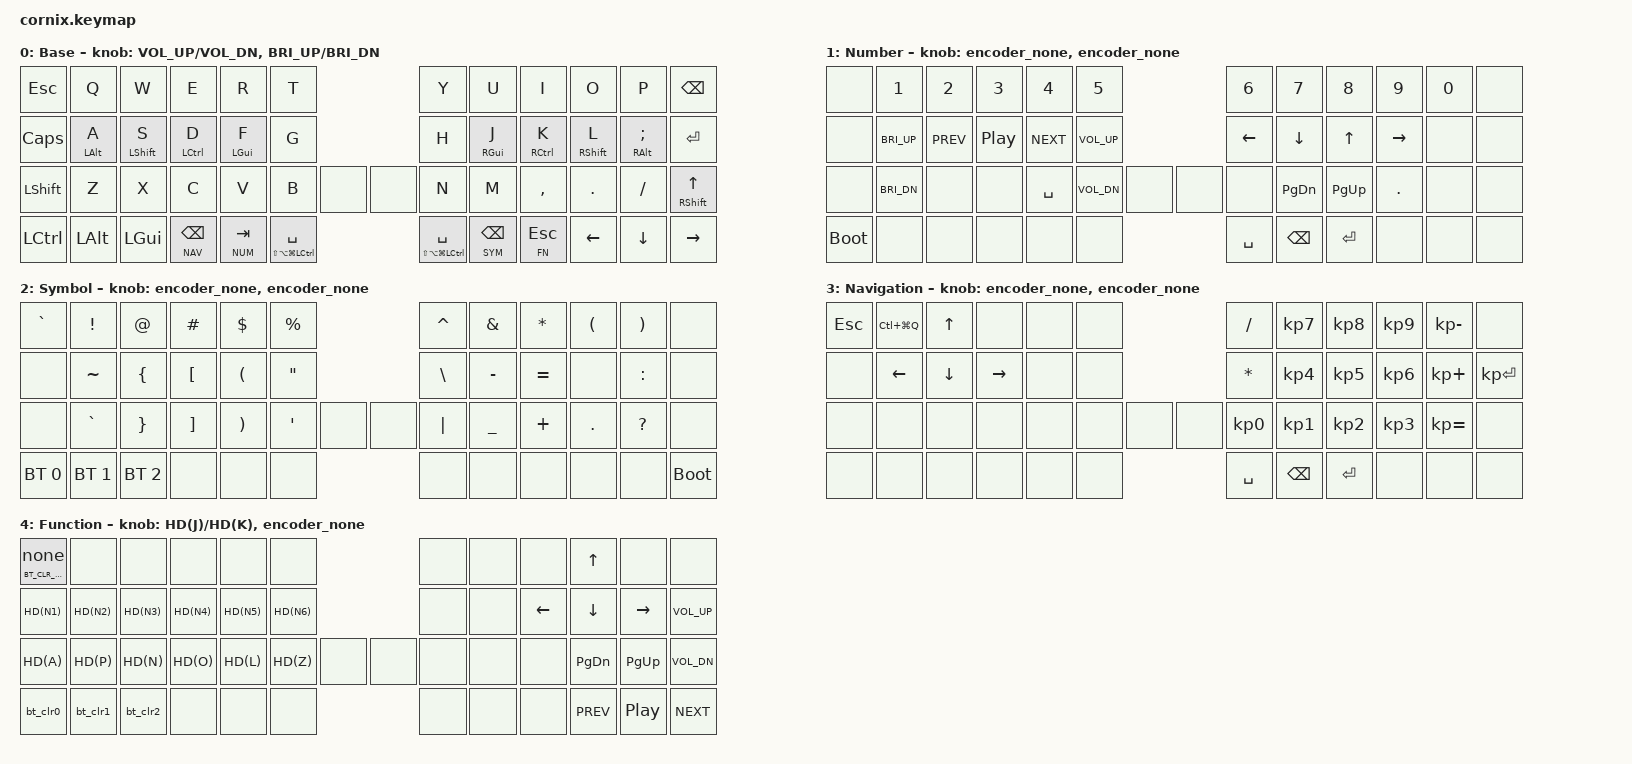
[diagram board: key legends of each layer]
/*
 * Ported from my rmk keymap
 * 2026-07-01 18:22:27
 *
 */

#include <behaviors.dtsi>
#include <dt-bindings/zmk/bt.h>
#include <dt-bindings/zmk/keys.h>
#include <dt-bindings/zmk/outputs.h>

#define BASE 0
#define NUM  1
#define SYM  2
#define NAV  3
#define FN   4

#define LEFT_KEYS  0 1 2 3 4 5 12 13 14 15 16 17 24 25 26 27 28 29 30 38 39 40 41 42 43
#define RIGHT_KEYS 6 7 8 9 10 11 18 19 20 21 22 23 31 32 33 34 35 36 37 44 45 46 47 48 49
#define HYPER LS(LA(LG(LCTRL)))
/* Herdr 键簇（FN 层左手）：所有键都发 ⌃⌥+键，由 Herdr 的 keybinding 接住
 * （focus_agent = "ctrl+alt+1..9" 等，见 README「Herdr / Agent 控制键」）。
 * ⌃⌥ 前缀整体留给 Herdr，其他层不要再用。 */
#define HD(k) LC(LA(k))

/ {
    behaviors {
        // 长按 1 秒才执行的蓝牙命令：用于清空全部配对，避免误触一下就丢掉所有设备。
        // tap-preferred + 1000 ms：松开得早就走 tap（&none，什么也不做）。
        hold_bt: hold_bt {
            compatible = "zmk,behavior-hold-tap";
            #binding-cells = <2>;
            flavor = "tap-preferred";
            tapping-term-ms = <1000>;
            bindings = <&bt>, <&none>;
        };

        hml: home_row_mod_left {
            compatible = "zmk,behavior-hold-tap";
            #binding-cells = <2>;
            flavor = "balanced";
            tapping-term-ms = <200>;
            quick-tap-ms = <150>;
            require-prior-idle-ms = <120>;
            bindings = <&kp>, <&kp>;
            hold-trigger-key-positions = <RIGHT_KEYS>;
            hold-trigger-on-release;
        };

        hmr: home_row_mod_right {
            compatible = "zmk,behavior-hold-tap";
            #binding-cells = <2>;
            flavor = "balanced";
            tapping-term-ms = <200>;
            quick-tap-ms = <150>;
            require-prior-idle-ms = <120>;
            bindings = <&kp>, <&kp>;
            hold-trigger-key-positions = <LEFT_KEYS>;
            hold-trigger-on-release;
        };

        vlt: vial_layer_tap {
            compatible = "zmk,behavior-hold-tap";
            #binding-cells = <2>;
            flavor = "balanced";
            tapping-term-ms = <200>;
            quick-tap-ms = <150>;
            bindings = <&mo>, <&kp>;
        };

        encoder_none: encoder_none {
            compatible = "zmk,behavior-sensor-rotate";
            #sensor-binding-cells = <0>;
            bindings = <&none>, <&none>;
        };
    };

    macros {
        // 清除单个蓝牙 profile 的配对信息：先 BT_SEL n 再 BT_CLR。
        // wait-ms 留出 profile 切换落地的时间，清除后停留在该 profile（可重新配对）。
        bt_clr0: bt_clr0 {
            compatible = "zmk,behavior-macro";
            #binding-cells = <0>;
            wait-ms = <50>;
            tap-ms = <20>;
            bindings = <&bt BT_SEL 0>, <&bt BT_CLR>;
        };

        bt_clr1: bt_clr1 {
            compatible = "zmk,behavior-macro";
            #binding-cells = <0>;
            wait-ms = <50>;
            tap-ms = <20>;
            bindings = <&bt BT_SEL 1>, <&bt BT_CLR>;
        };

        bt_clr2: bt_clr2 {
            compatible = "zmk,behavior-macro";
            #binding-cells = <0>;
            wait-ms = <50>;
            tap-ms = <20>;
            bindings = <&bt BT_SEL 2>, <&bt BT_CLR>;
        };
    };

    combos {
        compatible = "zmk,combos";

        copy {
            timeout-ms = <50>;
            key-positions = <26 27>;
            bindings = <&kp LG(C)>;
            layers = <BASE>;
        };

        paste {
            timeout-ms = <50>;
            key-positions = <27 28>;
            bindings = <&kp LG(V)>;
            layers = <BASE>;
        };
    };

    /* 键位注释图例：
     *   A/⌥     点按 A、按住 ⌥（tap/hold；拇指键 ⌫/Nav = 点按 ⌫、按住进 Nav 层）
     *   ⌘⌥⌃⇧    Cmd / Opt / Ctrl / Shift；Hyper = ⌃⌥⇧⌘
     *   空白格  &none；左右手之间的两格是左、右旋钮的按压位
     */
    keymap {
        compatible = "zmk,keymap";

        base_layer {
            display-name = "Base";
            bindings = <
                //╭─────────────────────────┬─────────────┬─────────────┬─────────────┬────────────┬────────────────╮                 ╭────────────────┬─────────────┬────────────┬─────────────┬──────────────┬──────────────╮
                //│           Esc           │      Q      │      W      │      E      │     R      │       T        │                 │       Y        │      U      │     I      │      O      │      P       │      ⌫       │
                            &kp ESC              &kp Q         &kp W         &kp E        &kp R          &kp T                              &kp Y           &kp U        &kp I         &kp O         &kp P         &kp BSPC
                //├─────────────────────────┼─────────────┼─────────────┼─────────────┼────────────┼────────────────┤                 ├────────────────┼─────────────┼────────────┼─────────────┼──────────────┼──────────────┤
                //│            ⇪            │     A/⌥     │     S/⇧     │     D/⌃     │    F/⌘     │       G        │                 │       H        │     J/⌘     │    K/⌃     │     L/⇧     │     ;/⌥      │      ⏎       │
                            &kp CAPS          &hml LALT A  &hml LSHIFT S  &hml LCTRL D &hml LGUI F       &kp G                              &kp H        &hmr RGUI J  &hmr RCTRL K &hmr RSHIFT L &hmr RALT SEMI   &kp ENTER
                //├─────────────────────────┼─────────────┼─────────────┼─────────────┼────────────┼────────────────┤  ╭─────┬─────╮  ├────────────────┼─────────────┼────────────┼─────────────┼──────────────┼──────────────┤
                //│            ⇧            │      Z      │      X      │      C      │     V      │       B        │  │     │     │  │       N        │      M      │     ,      │      .      │      /       │     ↑/⇧      │
                           &kp LSHIFT            &kp Z         &kp X         &kp C        &kp V          &kp B          &none &none         &kp N           &kp M      &kp COMMA      &kp DOT       &kp FSLH    &hmr RSHIFT UP
                //├─────────────────────────┼─────────────┼─────────────┼─────────────┼────────────┼────────────────┤  ╰─────┴─────╯  ├────────────────┼─────────────┼────────────┼─────────────┼──────────────┼──────────────┤
                //│            ⌃            │      ⌥      │      ⌘      │    ⌫/Nav    │   ⇥/Num    │    ␣/Hyper     │                 │    ␣/Hyper     │    ⌫/Sym    │   Esc/Fn   │      ←      │      ↓       │      →       │
                           &kp LCTRL            &kp LALT      &kp LGUI   &vlt NAV BSPC &vlt NUM TAB &hml HYPER SPACE                   &hmr HYPER SPACE &vlt SYM BSPC &vlt FN ESC     &kp LEFT      &kp DOWN      &kp RIGHT
                //╰─────────────────────────┴─────────────┴─────────────┴─────────────┴────────────┴────────────────╯                 ╰────────────────┴─────────────┴────────────┴─────────────┴──────────────┴──────────────╯
            >;
            sensor-bindings = <
                &inc_dec_kp C_VOL_UP C_VOL_DN
                &inc_dec_kp C_BRI_UP C_BRI_DN
            >;
        };

        number_layer {
            display-name = "Number";
            bindings = <
                //╭─────────────────────────┬─────────────┬─────────────┬─────────────┬────────────┬────────────────╮                 ╭────────────────┬─────────────┬────────────┬─────────────┬──────────────┬──────────────╮
                //│                         │      1      │      2      │      3      │     4      │       5        │                 │       6        │      7      │     8      │      9      │      0       │              │
                             &none               &kp N1        &kp N2        &kp N3       &kp N4         &kp N5                             &kp N6          &kp N7       &kp N8        &kp N9        &kp N0         &none
                //├─────────────────────────┼─────────────┼─────────────┼─────────────┼────────────┼────────────────┤                 ├────────────────┼─────────────┼────────────┼─────────────┼──────────────┼──────────────┤
                //│                         │     Bri+    │     Prev    │     Play    │    Next    │      Vol+      │                 │       ←        │      ↓      │     ↑      │      →      │              │              │
                             &none            &kp C_BRI_UP   &kp C_PREV     &kp C_PP    &kp C_NEXT    &kp C_VOL_UP                         &kp LEFT        &kp DOWN      &kp UP      &kp RIGHT       &none          &none
                //├─────────────────────────┼─────────────┼─────────────┼─────────────┼────────────┼────────────────┤  ╭─────┬─────╮  ├────────────────┼─────────────┼────────────┼─────────────┼──────────────┼──────────────┤
                //│                         │     Bri-    │             │             │     ␣      │      Vol-      │  │     │     │  │                │     PgDn    │    PgUp    │      .      │              │              │
                             &none            &kp C_BRI_DN     &none         &none      &kp SPACE     &kp C_VOL_DN      &none &none         &none         &kp PG_DN    &kp PG_UP      &kp DOT        &none          &none
                //├─────────────────────────┼─────────────┼─────────────┼─────────────┼────────────┼────────────────┤  ╰─────┴─────╯  ├────────────────┼─────────────┼────────────┼─────────────┼──────────────┼──────────────┤
                //│           Boot          │             │             │             │            │                │                 │       ␣        │      ⌫      │     ⏎      │             │              │              │
                          &bootloader            &none         &none         &none        &none          &none                            &kp SPACE        &kp BSPC    &kp ENTER       &none         &none          &none
                //╰─────────────────────────┴─────────────┴─────────────┴─────────────┴────────────┴────────────────╯                 ╰────────────────┴─────────────┴────────────┴─────────────┴──────────────┴──────────────╯
            >;
            sensor-bindings = <&encoder_none &encoder_none>;
        };

        symbol_layer {
            display-name = "Symbol";
            bindings = <
                //╭─────────────────────────┬─────────────┬─────────────┬─────────────┬────────────┬────────────────╮                 ╭────────────────┬─────────────┬────────────┬─────────────┬──────────────┬──────────────╮
                //│            `            │      !      │      @      │      #      │     $      │       %        │                 │       ^        │      &      │     *      │      (      │      )       │              │
                           &kp GRAVE            &kp EXCL       &kp AT       &kp HASH     &kp DLLR      &kp PRCNT                          &kp CARET        &kp AMPS    &kp ASTRK      &kp LPAR      &kp RPAR        &none
                //├─────────────────────────┼─────────────┼─────────────┼─────────────┼────────────┼────────────────┤                 ├────────────────┼─────────────┼────────────┼─────────────┼──────────────┼──────────────┤
                //│                         │      ~      │      {      │      [      │     (      │       "        │                 │       \        │      -      │     =      │             │      :       │              │
                             &none             &kp TILDE      &kp LBRC      &kp LBKT     &kp LPAR       &kp DQT                            &kp BSLH       &kp MINUS    &kp EQUAL       &none       &kp COLON        &none
                //├─────────────────────────┼─────────────┼─────────────┼─────────────┼────────────┼────────────────┤  ╭─────┬─────╮  ├────────────────┼─────────────┼────────────┼─────────────┼──────────────┼──────────────┤
                //│                         │      `      │      }      │      ]      │     )      │       '        │  │     │     │  │       |        │      _      │     +      │      .      │      ?       │              │
                             &none             &kp GRAVE      &kp RBRC      &kp RBKT     &kp RPAR       &kp SQT         &none &none        &kp PIPE       &kp UNDER     &kp PLUS      &kp DOT      &kp QMARK        &none
                //├─────────────────────────┼─────────────┼─────────────┼─────────────┼────────────┼────────────────┤  ╰─────┴─────╯  ├────────────────┼─────────────┼────────────┼─────────────┼──────────────┼──────────────┤
                //│           BT 0          │     BT 1    │     BT 2    │             │            │                │                 │                │             │            │             │              │     Boot     │
                          &bt BT_SEL 0        &bt BT_SEL 1  &bt BT_SEL 2     &none        &none          &none                              &none           &none        &none         &none         &none       &bootloader
                //╰─────────────────────────┴─────────────┴─────────────┴─────────────┴────────────┴────────────────╯                 ╰────────────────┴─────────────┴────────────┴─────────────┴──────────────┴──────────────╯
            >;
            sensor-bindings = <&encoder_none &encoder_none>;
        };

        navigation_layer {
            display-name = "Navigation";
            bindings = <
                //╭─────────────────────────┬─────────────┬─────────────┬─────────────┬────────────┬────────────────╮                 ╭────────────────┬─────────────┬────────────┬─────────────┬──────────────┬──────────────╮
                //│           Esc           │     Lock    │      ↑      │             │            │                │                 │       /        │      7      │     8      │      9      │      -       │              │
                            &kp ESC          &kp LC(LG(Q))     &kp UP        &none        &none          &none                             &kp FSLH       &kp KP_N7    &kp KP_N8     &kp KP_N9    &kp KP_MINUS      &none
                //├─────────────────────────┼─────────────┼─────────────┼─────────────┼────────────┼────────────────┤                 ├────────────────┼─────────────┼────────────┼─────────────┼──────────────┼──────────────┤
                //│                         │      ←      │      ↓      │      →      │            │                │                 │       *        │      4      │     5      │      6      │      +       │      ⏎       │
                             &none              &kp LEFT      &kp DOWN     &kp RIGHT      &none          &none                            &kp ASTRK       &kp KP_N4    &kp KP_N5     &kp KP_N6    &kp KP_PLUS    &kp KP_ENTER
                //├─────────────────────────┼─────────────┼─────────────┼─────────────┼────────────┼────────────────┤  ╭─────┬─────╮  ├────────────────┼─────────────┼────────────┼─────────────┼──────────────┼──────────────┤
                //│                         │             │             │             │            │                │  │     │     │  │       0        │      1      │     2      │      3      │      =       │              │
                             &none               &none         &none         &none        &none          &none          &none &none       &kp KP_N0       &kp KP_N1    &kp KP_N2     &kp KP_N3    &kp KP_EQUAL      &none
                //├─────────────────────────┼─────────────┼─────────────┼─────────────┼────────────┼────────────────┤  ╰─────┴─────╯  ├────────────────┼─────────────┼────────────┼─────────────┼──────────────┼──────────────┤
                //│                         │             │             │             │            │                │                 │       ␣        │      ⌫      │     ⏎      │             │              │              │
                             &none               &none         &none         &none        &none          &none                            &kp SPACE        &kp BSPC    &kp ENTER       &none         &none          &none
                //╰─────────────────────────┴─────────────┴─────────────┴─────────────┴────────────┴────────────────╯                 ╰────────────────┴─────────────┴────────────┴─────────────┴──────────────┴──────────────╯
            >;
            sensor-bindings = <&encoder_none &encoder_none>;
        };

        function_layer {
            display-name = "Function";
            bindings = <
                //╭─────────────────────────┬─────────────┬─────────────┬─────────────┬────────────┬────────────────╮                 ╭────────────────┬─────────────┬────────────┬─────────────┬──────────────┬──────────────╮
                //│       Hold Clr All      │             │             │             │            │                │                 │                │             │            │      ↑      │              │              │
                   &hold_bt BT_CLR_ALL_CMD 0     &none         &none         &none        &none          &none                              &none           &none        &none         &kp UP        &none          &none
                //├─────────────────────────┼─────────────┼─────────────┼─────────────┼────────────┼────────────────┤                 ├────────────────┼─────────────┼────────────┼─────────────┼──────────────┼──────────────┤
                //│         Agent 1         │   Agent 2   │   Agent 3   │   Agent 4   │  Agent 5   │    Agent 6     │                 │                │             │     ←      │      ↓      │      →       │     Vol+     │
                           &kp HD(N1)          &kp HD(N2)    &kp HD(N3)    &kp HD(N4)   &kp HD(N5)     &kp HD(N6)                           &none           &none       &kp LEFT      &kp DOWN     &kp RIGHT     &kp C_VOL_UP
                //├─────────────────────────┼─────────────┼─────────────┼─────────────┼────────────┼────────────────┤  ╭─────┬─────╮  ├────────────────┼─────────────┼────────────┼─────────────┼──────────────┼──────────────┤
                //│        Attention        │   Prev Ag   │   Next Ag   │    Notify   │ Last Pane  │      Zoom      │  │     │     │  │                │             │            │     PgDn    │     PgUp     │     Vol-     │
                           &kp HD(A)           &kp HD(P)     &kp HD(N)     &kp HD(O)    &kp HD(L)      &kp HD(Z)        &none &none         &none           &none        &none       &kp PG_DN     &kp PG_UP     &kp C_VOL_DN
                //├─────────────────────────┼─────────────┼─────────────┼─────────────┼────────────┼────────────────┤  ╰─────┴─────╯  ├────────────────┼─────────────┼────────────┼─────────────┼──────────────┼──────────────┤
                //│         Clr BT 0        │   Clr BT 1  │   Clr BT 2  │             │            │                │                 │                │             │            │     Prev    │     Play     │     Next     │
                            &bt_clr0            &bt_clr1      &bt_clr2       &none        &none          &none                              &none           &none        &none       &kp C_PREV     &kp C_PP      &kp C_NEXT
                //╰─────────────────────────┴─────────────┴─────────────┴─────────────┴────────────┴────────────────╯                 ╰────────────────┴─────────────┴────────────┴─────────────┴──────────────┴──────────────╯
            >;
            /* 左旋钮在 FN 层切换 Herdr workspace（顺时针 ⌃⌥J = next_workspace，逆时针 ⌃⌥K = previous_workspace）。 */
            sensor-bindings = <&inc_dec_kp HD(J) HD(K) &encoder_none>;
        };
    };
};
